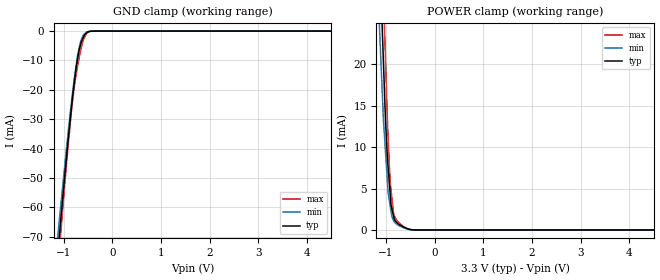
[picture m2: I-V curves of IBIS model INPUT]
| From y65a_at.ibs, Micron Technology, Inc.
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|   MODEL INPUT
[Model]   INPUT
Model_type   Input
Vinl = 800.000mV
Vinh = 2.000V
|   typ   min   max
C_comp   2.245pF   2.145pF   2.345pF
[Voltage Range]   3.300V   3.000V   3.600V
| Junction Temperature (Case temp is 35C typ, 105C min, -40C max)
[Temperature Range]   50.0   110.0   -40.0
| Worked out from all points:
|   GND clamp passes 1 mA (typ) near -0.55 V on its own axis
|   POWER clamp passes 1 mA (typ) near -0.80 V on its own axis
[GND Clamp]
|   Voltage   I(typ)   I(min)   I(max)
-3.3V     -516.4mA   -472.4mA   -568.2mA
-1.145V   -80.52mA   -74.36mA   -86.36mA
-1.055V   -63.77mA   -58.93mA   -68.21mA
-910mV    -37.89mA   -35.24mA   -39.72mA
-845mV    -27.17mA   -25.25mA   -28.31mA
-780mV    -17.61mA   -16.17mA   -18.93mA
-740mV    -12.27mA   -11.55mA   -14.65mA
-710mV    -9.314mA   -8.115mA   -11.8mA
-650mV    -4.636mA   -3.533mA   -6.725mA
-595mV    -2.189mA   -1.41mA    -3.079mA
-530mV    -612.5uA   -376.7uA   -767.7uA
6.6V      0A         0A         0A
[POWER Clamp]
|   Voltage   I(typ)   I(min)   I(max)
-3.3V     453.3mA    407.9mA    511.4mA
-1.145V   35.35mA    25.83mA    45.31mA
-1.055V   20.46mA    13.45mA    28.66mA
-1.05V    19.63mA    12.94mA    27.73mA
-1.02V    14.67mA    10.2mA     22.18mA
-975mV    9.001mA    6.089mA    13.85mA
-955mV    7.342mA    4.389mA    10.83mA
-910mV    3.935mA    2.72mA     5.485mA
-895mV    2.913mA    2.163mA    4.672mA
-840mV    1.511mA    1.075mA    1.838mA
-650mV    382.8uA    295.8uA    458.4uA
6.6V      0A         0A         0A
